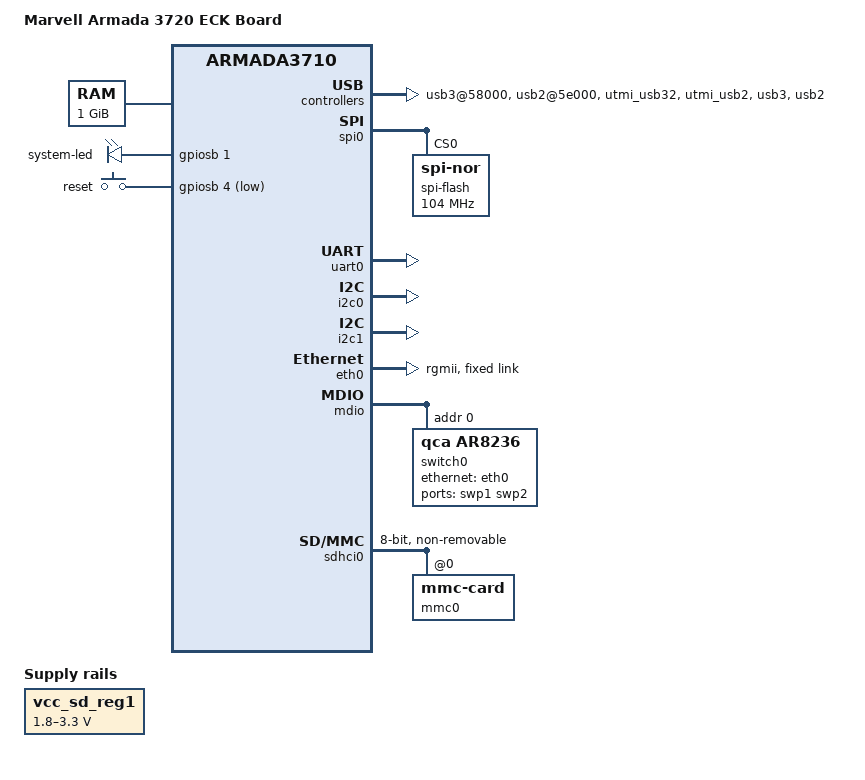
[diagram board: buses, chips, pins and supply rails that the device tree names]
/*
 * Device Tree file for Marvell Armada 3720 community board
 * Copyright (C) 2016 Marvell
 *
 * This file is dual-licensed: you can use it either under the terms
 * of the GPL or the X11 license, at your option. Note that this dual
 * licensing only applies to this file, and not this project as a
 * whole.
 *
 *  a) This file is free software; you can redistribute it and/or
 *     modify it under the terms of the GNU General Public License as
 *     published by the Free Software Foundation; either version 2 of the
 *     License, or (at your option) any later version.
 *
 *     This file is distributed in the hope that it will be useful
 *     but WITHOUT ANY WARRANTY; without even the implied warranty of
 *     MERCHANTABILITY or FITNESS FOR A PARTICULAR PURPOSE.  See the
 *     GNU General Public License for more details.
 *
 * Or, alternatively
 *
 *  b) Permission is hereby granted, free of charge, to any person
 *     obtaining a copy of this software and associated documentation
 *     files (the "Software"), to deal in the Software without
 *     restriction, including without limitation the rights to use
 *     copy, modify, merge, publish, distribute, sublicense, and/or
 *     sell copies of the Software, and to permit persons to whom the
 *     Software is furnished to do so, subject to the following
 *     conditions:
 *
 *     The above copyright notice and this permission notice shall be
 *     included in all copies or substantial portions of the Software.
 *
 *     THE SOFTWARE IS PROVIDED , WITHOUT WARRANTY OF ANY KIND
 *     EXPRESS OR IMPLIED, INCLUDING BUT NOT LIMITED TO THE WARRANTIES
 *     OF MERCHANTABILITY, FITNESS FOR A PARTICULAR PURPOSE AND
 *     NONINFRINGEMENT. IN NO EVENT SHALL THE AUTHORS OR COPYRIGHT
 *     HOLDERS BE LIABLE FOR ANY CLAIM, DAMAGES OR OTHER LIABILITY
 *     WHETHER IN AN ACTION OF CONTRACT, TORT OR OTHERWISE, ARISING
 *     FROM, OUT OF OR IN CONNECTION WITH THE SOFTWARE OR THE USE OR
 *     OTHER DEALINGS IN THE SOFTWARE.
 */

/*
 * OC200 (TP-Link OC200) board description, derived from the Marvell
 * Armada 3720 community/ECK reference DTS (2016 Marvell license above).
 *
 * This file is a MODIFIED derivative, not an unmodified upstream file.
 * The base reference DTS is not present in the linux-6.18.59 tarball, so
 * this list is written by hand, not generated with diff. Every change that
 * is specific to the OC200 is tagged "OC200 MOD" in the body.
 *
 * Summary of modifications:
 *   1. Model and compatible: TP-Link OC200 identity added first.
 *   2. Memory: 1 GiB (0x40000000 bytes).
 *   3. System LED and reset-button pin groups moved from a separate
 *      south-bridge-pinctrl node into &pinctrl_sb (deferred-probe fix).
 *   4. gpio-leds and gpio-keys: OC200 GPIO assignments; LED uses the
 *      disk-activity trigger.
 *   5. eth0: CPU link fixed at 100 Mbps full duplex, pause not advertised.
 *   6. mdio: AR8236 switch node (CPU port 0 to eth0, user ports swp1/swp2).
 *   7. USB2/USB3, UART0, I2C0/I2C1, SPI0 flash, eMMC (sdhci0): enabled
 *      with OC200-specific settings.
 *
 * Items marked "not verified against base" are believed to be OC200 changes
 * but have not been compared against the base reference file.
 */

/dts-v1/;

#include <dt-bindings/gpio/gpio.h>
#include <dt-bindings/input/input.h>
#include "armada-372x.dtsi"

/ {
	/* OC200 MOD: model and first compatible changed to the OC200 identity;
	 * the ECK board strings are kept as fallbacks. */
	model = "Marvell Armada 3720 ECK Board";
	compatible = "tplink,oc200", "marvell,armada-3720-oc200", "marvell,armada-3720-eck", "marvell,armada3720", "marvell,armada3710";

	aliases {
		mmc0 = &sdhci0;
	};

	chosen {
		bootargs = "console=ttyMV0,115200";
		stdout-path = "serial0:115200n8";
	};

	/* OC200 MOD: 1 GiB DRAM (U-Boot reports DRAM: 1 GiB). */
	memory {
		device_type = "memory";
		reg = <0x00000000 0x00000000 0x00000000 0x40000000>;
	};

	soc {
		internal-regs {
			reg_avs: avs@11500 {
				status = "okay";
			};

			/* Pin groups moved to &pinctrl_sb below (fixes
			 * leds-gpio / gpio-keys deferred probe: the pinctrl
			 * subsystem requires pin-group nodes to be children
			 * of the actual pinctrl device node). */

			u3d@50000 {
				status = "disabled";
				//phys = <&a3700_comphy 0 COMPHY_USB3>;
				phy-names = "usb";
			};

			udc@54100 {
				status = "disabled";
				//phys = <&utmi_usb32>;
				phy-names = "usb";
			};

			usb3@58000 {
				status = "okay";
			};

			usb2@5e000 {
				status = "okay";
			};

			utmi_usb32: utmi@5d000 {
				status = "okay";
			};

			utmi_usb2: utmi@5f000 {
				status = "okay";
			};

			vcc_sd_reg1: regulator@0 {
				compatible = "regulator-gpio";
				regulator-name = "vcc_sd1";
				regulator-min-microvolt = <1800000>;
				regulator-max-microvolt = <3300000>;
				regulator-boot-on;

				gpios = <&gpionb 4 GPIO_ACTIVE_HIGH>;
				gpios-states = <0>;
				states = <1800000 0x1
					  3300000 0x0>;

				enable-active-high;
			};


			bm: bm@c0000 {
				compatible = "marvell,armada-380-neta-bm";
				reg = <0xc0000 0xac>;
				clocks = <&sb_periph_clk 9>;
				internal-mem = <&bm_bppi>;
				status = "okay";
			};

			bm_bppi: bm-bppi {
				compatible = "mmio-sram";
				reg = <0xc8000 0x1000>;
				clocks = <&sb_periph_clk 9>;
				no-memory-wc;
				status = "okay";
			};

			eip97: eip97@90000 {
				status = "okay";
			};
		};
	};



	/* OC200 MOD: system LED on GPIO SB 1 (mpp1); the disk-activity trigger is
	 * an OC200 choice, not in the base file. */
	gpio-leds {
		compatible = "gpio-leds";
		pinctrl-0 = <&system_led_pins>;
		pinctrl-names = "default";

		system-led {
			label = "system-led";
			gpios = <&gpiosb 1 GPIO_ACTIVE_HIGH>;
			default-state = "off";
			linux,default-trigger = "disk-activity";
		};
	};

	/* OC200 MOD: reset button on GPIO SB 4 (mpp4), active low, mapped to
	 * KEY_RESTART. */
	gpio-keys {
		compatible = "gpio-keys";
		pinctrl-0 = <&system_reset_pins>;
		pinctrl-names = "default";

		reset-button {
			label = "reset";
			linux,code = <KEY_RESTART>;
			gpios = <&gpiosb 4 GPIO_ACTIVE_LOW>;
		};
	};
};

&spi0 {
	status = "okay";

	spi-flash@0 {
		#address-cells = <1>;
		#size-cells = <1>;
		compatible = "jedec,spi-nor";
		reg = <0>; /* Chip select 0 */
		spi-max-frequency = <104000000>;
		m25p,fast-read;

		pinctrl-names = "default";
		pinctrl-0 = <&spi_cs1_pins &spi_quad_pins>;
	};
};

&uart0 {
	status = "okay";
};

/* Enable the actual Armada 37xx host-controller nodes inherited from dtsi. */
&usb3 {
	status = "okay";
};

&usb2 {
	status = "okay";
};

&i2c0 {
	status = "okay";
};

&i2c1 {
	status = "okay";
};

/* OC200 MOD: eth0 is the CPU port to the AR8236 switch. The fixed link is
 * 100 Mbps full duplex, and pause is not advertised ("//pause;" below is
 * commented out). See docs/notes/OC200_AR8236_IPERF_INVESTIGATION.md. */
&eth0 {
	phy-mode = "rgmii";
	status = "okay";
	buffer-manager = <&bm>;
	bm,pool-long = <1>;
	bm,pool-short = <3>;

	fixed-link {
		speed = <100>;
		full-duplex;
		//pause;
	};

};

/* OC200 MOD: AR8236 10/100 switch on the MDIO bus. Port 0 is the CPU port
 * (eth0). swp1 and swp2 are the user ports. This node does not exist in the
 * base reference file. The driver is in drivers/net/dsa/qca/ar8236.c. */
&mdio {
	switch0: switch@0 {
		compatible = "qca,ar8236";
		dsa,member = <0 0>;
		#address-cells = <1>;
		#size-cells = <0>;
		reg = <0>;

		ports {
			#address-cells = <1>;
			#size-cells = <0>;

			port@0 {
				reg = <0>;
				ethernet = <&eth0>;
				phy-mode = "rgmii";

				fixed-link {
					speed = <100>;
					full-duplex;
				};
			};

			port@1 {
				reg = <1>;
				label = "swp1";
			};

			port@2 {
				reg = <2>;
				label = "swp2";
			};
		};
	};
};

&sdhci0 {
	marvell,pad-type = "fixed-1-8v";
	non-removable;
	bus-width = <8>;
	cap-mmc-highspeed;
	max-frequency = <52000000>;
	marvell,xenon-emmc;
	marvell,xenon-broken-hs200;
	marvell,xenon-tun-count = <9>;
	status = "okay";

	pinctrl-names = "default";
	pinctrl-0 = <&mmc_pins>;
	#address-cells = <1>;
	#size-cells = <0>;
	mmc0: mmccard@0 {
		compatible = "mmc-card";
		reg = <0>;
	};
};

/* SB pin groups for the system LED and reset button.
 * These MUST be children of the pinctrl_sb device node so that
 * pinctrl_bind_pins() can resolve them; the old placement under a
 * separate south-bridge-pinctrl@18830 node caused leds-gpio and
 * gpio-keys to defer forever. */
&pinctrl_sb {
	system_led_pins: system-led-pins {
		marvell,pins = "mpp1";
		marvell,function = "gpio";
	};

	system_reset_pins: system-reset-pins {
		marvell,pins = "mpp4";
		marvell,function = "gpio";
	};
};
